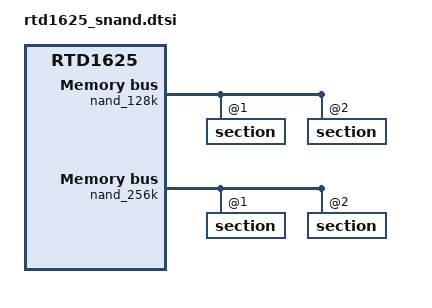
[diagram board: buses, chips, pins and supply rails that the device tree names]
// SPDX-License-Identifier: GPL-2.0+

/ {
	#address-cells = <1>;
	#size-cells = <1>;

	binman: binman {
		nand_128k {
			filename = "rtd1625_snand_128k_bind.bin";
			section@1 {
				size = <0x20000>;
				pad-byte = <0xff>;
				blob@1 {
					filename = "scs_certificate/SCS_Certificate.bin";
					//size = <0x400>;
					align-size = <0x1000>;
				};
				blob@2 {
					filename = "scs_param/0000/SCS_Params_Area.dev.bin";
					//size = <0x200>;
					align-size = <0x1000>;
				};
				blob@3 {
					filename = "extrom_dice_lib/Extrom_Dice_Lib_Area.bin";
					//size = <0x14200>;
					align-size = <0x1000>;
				};
			};
			section@2 {
				size = <0x40000>;
				blob@4 {
					filename = "auxcode/Auxcode_Area.aiot.bin";
					//size = <0x26800>;
					align-size = <0x1000>;
				};
			};
		};

		nand_256k {
			filename = "rtd1625_snand_256k_bind.bin";
			section@1 {
				size = <0x40000>;
				pad-byte = <0xff>;
				blob@1 {
					filename = "scs_certificate/SCS_Certificate.bin";
					//size = <0x400>;
					align-size = <0x1000>;
				};
				blob@2 {
					filename = "scs_param/0000/SCS_Params_Area.dev.bin";
					//size = <0x200>;
					align-size = <0x1000>;
				};
				blob@3 {
					filename = "extrom_dice_lib/Extrom_Dice_Lib_Area.bin";
					//size = <0x14200>;
					align-size = <0x1000>;
				};
			};
			section@2 {
				size = <0x40000>;
				blob@4 {
					filename = "auxcode/Auxcode_Area.aiot.bin";
					//size = <0x26800>;
					align-size = <0x1000>;
				};
			};
		};

		trust_fw {
			filename = "rtd1625_snand_trustfw_bind.bin";
			allow-repack;
			size = <0x80000>; // 0x76000, 256KB aligned
			pad-byte = <0xff>;
			align-size = <0x1000>;
			fit {
				description = "TrustFW fitImage for Kent";
				fit,external-offset = <0x1000>;
				fit,align = <0x1000>;

				images {
					atf_cert {
						description = "atf certificate image";
						type = "firmware";
						arch = "arm64";
						compression = "none";

						blob {
							size = <0x400>;
							filename = "atf_certificate/ATF_Certificate.bin";
						};
					};
					rtk_param {
						description = "rtk param image";
						type = "firmware";
						arch = "arm64";
						compression = "none";

						blob {
							size = <0x800>;
							filename = "rtk_param/RTK_Params_Area.bin";
						};
					};
					dram_init {
						description = "dram init image";
						type = "standalone";
						arch = "arm64";
						compression = "none";

						blob {
							size = <0x40000>;
							filename = "dram_init/DRAM_Init_Area.bin";
						};
					};
					bl31 {
						description = "bl31 image";
						type = "standalone";
						arch = "arm64";
						compression = "none";

						blob {
							size = <0x32000>;
							filename = "bl31/BL31_Area.bin";
						};
					};
					dte_cert {
						description = "Certificate for DTE FW";
						type = "firmware";
						arch = "arm64";
						compression = "none";

						blob {
							filename = "dte_fw_certificate/DTE_FW_Certificate.bin";
						};
					};
				};
			};
			fdtmap {
			};
			image-header {
				location = "end";
			};
		};

		spl {
			filename = "rtd1625_snand_spl_bind.bin";
			size = <0x40000>; // 256KB aligned
			pad-byte = <0xff>;
			blob@1 {
				filename = "u-boot-spl.bin_pad";
				size = <0x2B000>; // 172k
				align-size = <0x1000>;
			};
			spl_sig: blob-ext@1 {
				filename = "u-boot-spl.sig";
				//size = <0x200>; /* 256 */
				align-size = <0x1000>;
				optional;
			};
		};

		bootcode {
			filename = "rtd1625_snand_bootcode_bind.bin";
			size = <0xC0000>; // 256KB aligned
			pad-byte = <0xff>;
			blob@1 {
				filename = "u-boot.img";
				align-size = <0x1000>;
			};
		};
	};
};
